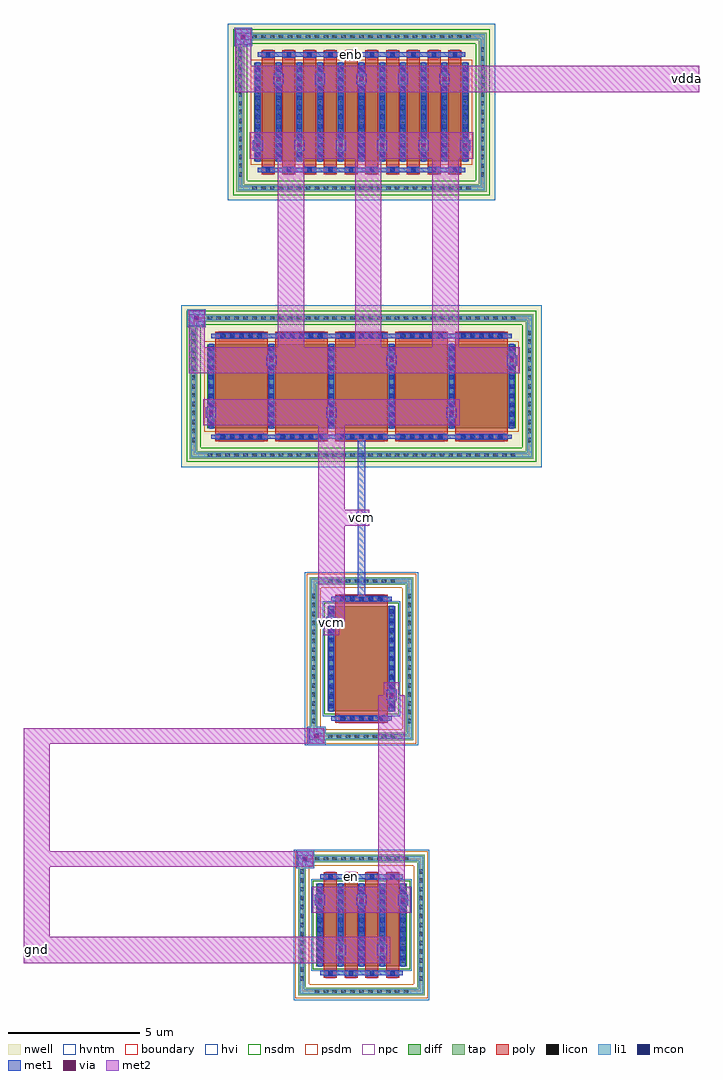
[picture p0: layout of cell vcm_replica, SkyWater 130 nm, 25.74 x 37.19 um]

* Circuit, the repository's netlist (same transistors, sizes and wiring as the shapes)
* vcm replica: inverter core at 1/8 width, output tied to input (self-biased), header on (gate enb, tied to gnd by the top level), footer on (gate en, tied to vdda by the top level) -- dsm1/sim/dsm1.py
.subckt vcm_replica vcm vdda gnd en enb
XMhp rcp enb vdda vdda sky130_fd_pr__pfet_g5v0d10v5 w=37.5 l=0.5
XMp  vcm vcm rcp  rcp  sky130_fd_pr__pfet_g5v0d10v5 w=16 l=2
XMn  vcm vcm rcn  gnd  sky130_fd_pr__nfet_g5v0d10v5 w=4 l=2
XMhn rcn en gnd gnd  sky130_fd_pr__nfet_g5v0d10v5 w=12.5 l=0.5
.ends

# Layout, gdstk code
import gdstk
lib = gdstk.Library(unit=1e-6, precision=1e-09)
def R(c, l, rs):  # rectangles x0, y0, x1, y1
    for r in rs: c.add(gdstk.rectangle(r[:2], r[2:], *l))
def A(c, l, x, y, w, h, nx, ny, dx, dy):  # array of equal rectangles
    R(c, l, [(x+i*dx, y+j*dy, x+i*dx+w, y+j*dy+h) for i in range(nx) for j in range(ny)])
nwell = (64, 20)
diff = (65, 20)
tap = (65, 44)
poly = (66, 20)
licon = (66, 44)
li1 = (67, 20)
mcon = (67, 44)
met1 = (68, 20)
via = (68, 44)
met2 = (69, 20)
hvi = (75, 20)
nsdm = (93, 44)
psdm = (94, 20)
npc = (95, 20)
hvntm = (125, 20)
boundary = (235, 4)

sky130_fd_pr__nfet_g5v0d = lib.new_cell('sky130_fd_pr__nfet_g5v0d10v5_7LT2GF')
R(sky130_fd_pr__nfet_g5v0d, diff, [(-1.725,-1.565,1.725,1.565)])
R(sky130_fd_pr__nfet_g5v0d, tap, [(-2.405,-2.675,2.405,-2.385), (-2.405,-2.385,-2.115,2.385), (2.115,-2.385,2.405,2.385), (-2.405,2.385,2.405,2.675)])
A(sky130_fd_pr__nfet_g5v0d, poly, -1.435, -2.005, 0.5, 4.01, 4, 1, 0.79, 0)
A(sky130_fd_pr__nfet_g5v0d, licon, -1.785, -2.615, 0.17, 0.17, 11, 2, 0.34, 5.06)
A(sky130_fd_pr__nfet_g5v0d, licon, -2.345, -2.125, 0.17, 0.17, 1, 13, 0, 0.34)
A(sky130_fd_pr__nfet_g5v0d, licon, 2.175, -2.125, 0.17, 0.17, 1, 13, 0, 0.34)
A(sky130_fd_pr__nfet_g5v0d, licon, -1.27, -1.925, 0.17, 0.17, 4, 2, 0.79, 3.68)
A(sky130_fd_pr__nfet_g5v0d, licon, -1.665, -1.445, 0.17, 0.17, 5, 9, 0.79, 0.34)
A(sky130_fd_pr__nfet_g5v0d, li1, -1.665, -1.585, 0.17, 3.17, 5, 1, 0.79, 0)
R(sky130_fd_pr__nfet_g5v0d, li1, [(-2.345,-2.615,2.345,-2.445), (-2.345,-2.445,-2.175,2.445), (2.175,-2.445,2.345,2.445), (-1.58,-1.925,1.58,-1.755), (-1.58,1.755,1.58,1.925), (-2.345,2.445,2.345,2.615)])
A(sky130_fd_pr__nfet_g5v0d, mcon, -1.27, -1.925, 0.17, 0.17, 4, 2, 0.79, 3.68)
A(sky130_fd_pr__nfet_g5v0d, mcon, -1.665, -1.345, 0.17, 0.17, 5, 8, 0.79, 0.36)
A(sky130_fd_pr__nfet_g5v0d, met1, -1.415, -1.955, 0.46, 0.03, 4, 2, 0.79, 0.2)
A(sky130_fd_pr__nfet_g5v0d, met1, -1.695, -1.565, 0.23, 3.13, 5, 1, 0.79, 0)
A(sky130_fd_pr__nfet_g5v0d, met1, -1.415, 1.725, 0.46, 0.03, 4, 2, 0.79, 0.2)
R(sky130_fd_pr__nfet_g5v0d, met1, [(-1.58,-1.925,1.58,-1.755), (-1.58,1.755,1.58,1.925)])
R(sky130_fd_pr__nfet_g5v0d, hvi, [(-2.59,-2.86,2.59,2.86)])
R(sky130_fd_pr__nfet_g5v0d, nsdm, [(-1.85,-1.69,1.85,1.69)])
R(sky130_fd_pr__nfet_g5v0d, psdm, [(-2.53,-2.8,2.53,-2.26), (-2.53,-2.26,-1.99,2.26), (1.99,-2.26,2.53,2.26), (-2.53,2.26,2.53,2.8)])
A(sky130_fd_pr__nfet_g5v0d, npc, -1.37, -2.025, 0.37, 0.37, 4, 2, 0.79, 3.68)
R(sky130_fd_pr__nfet_g5v0d, hvntm, [(-1.91,-1.75,1.91,1.75)])
R(sky130_fd_pr__nfet_g5v0d, boundary, [(-2.26,-2.53,2.26,2.53)])
sky130_fd_pr__nfet_g5v0d.add(gdstk.Label('B', (0,-2.53), layer=67, texttype=5))
sky130_fd_pr__nfet_g5v0d.add(gdstk.Label('D0', (-1.58,0), layer=67, texttype=5))
sky130_fd_pr__nfet_g5v0d.add(gdstk.Label('G', (1.185,1.84), layer=67, texttype=5))
sky130_fd_pr__nfet_g5v0d.add(gdstk.Label('G', (0.395,1.84), layer=67, texttype=5))
sky130_fd_pr__nfet_g5v0d.add(gdstk.Label('G', (-0.395,1.84), layer=67, texttype=5))
sky130_fd_pr__nfet_g5v0d.add(gdstk.Label('G', (-1.185,1.84), layer=67, texttype=5))
sky130_fd_pr__nfet_g5v0d.add(gdstk.Label('S1', (-0.79,0), layer=67, texttype=5))
sky130_fd_pr__nfet_g5v0d.add(gdstk.Label('D2', (0,0), layer=67, texttype=5))
sky130_fd_pr__nfet_g5v0d.add(gdstk.Label('S3', (0.79,0), layer=67, texttype=5))

c_sky130_fd_pr__nfet_g5v0d = lib.new_cell('sky130_fd_pr__nfet_g5v0d10v5_ET2AWD')
R(c_sky130_fd_pr__nfet_g5v0d, diff, [(-1.29,-2,1.29,2)])
R(c_sky130_fd_pr__nfet_g5v0d, tap, [(-1.97,-3.11,1.97,-2.82), (-1.97,-2.82,-1.68,2.82), (1.68,-2.82,1.97,2.82), (-1.97,2.82,1.97,3.11)])
R(c_sky130_fd_pr__nfet_g5v0d, poly, [(-1,-2.44,1,2.44)])
A(c_sky130_fd_pr__nfet_g5v0d, licon, -1.275, -3.05, 0.17, 0.17, 8, 2, 0.34, 5.93)
A(c_sky130_fd_pr__nfet_g5v0d, licon, -1.91, -2.465, 0.17, 0.17, 1, 15, 0, 0.34)
A(c_sky130_fd_pr__nfet_g5v0d, licon, 1.74, -2.465, 0.17, 0.17, 1, 15, 0, 0.34)
A(c_sky130_fd_pr__nfet_g5v0d, licon, -0.765, -2.36, 0.17, 0.17, 5, 2, 0.34, 4.55)
A(c_sky130_fd_pr__nfet_g5v0d, licon, -1.23, -1.785, 0.17, 0.17, 1, 11, 0, 0.34)
A(c_sky130_fd_pr__nfet_g5v0d, licon, 1.06, -1.785, 0.17, 0.17, 1, 11, 0, 0.34)
R(c_sky130_fd_pr__nfet_g5v0d, li1, [(-1.91,-3.05,1.91,-2.88), (-1.91,-2.88,-1.74,2.88), (1.74,-2.88,1.91,2.88), (-1.145,-2.36,1.145,-2.19), (-1.23,-2.02,-1.06,2.02), (1.06,-2.02,1.23,2.02), (-1.145,2.19,1.145,2.36), (-1.91,2.88,1.91,3.05)])
A(c_sky130_fd_pr__nfet_g5v0d, mcon, -0.805, -2.36, 0.17, 0.17, 5, 2, 0.36, 4.55)
A(c_sky130_fd_pr__nfet_g5v0d, mcon, -1.23, -1.885, 0.17, 0.17, 1, 11, 0, 0.36)
A(c_sky130_fd_pr__nfet_g5v0d, mcon, 1.06, -1.885, 0.17, 0.17, 1, 11, 0, 0.36)
R(c_sky130_fd_pr__nfet_g5v0d, met1, [(-0.98,-2.39,0.98,-2.36), (-1.145,-2.36,1.145,-2.19), (-0.98,-2.19,0.98,-2.16), (-1.26,-2,-1.03,2), (1.03,-2,1.26,2), (-0.98,2.16,0.98,2.19), (-1.145,2.19,1.145,2.36), (-0.98,2.36,0.98,2.39)])
R(c_sky130_fd_pr__nfet_g5v0d, hvi, [(-2.155,-3.295,2.155,3.295)])
R(c_sky130_fd_pr__nfet_g5v0d, nsdm, [(-1.415,-2.125,1.415,2.125)])
R(c_sky130_fd_pr__nfet_g5v0d, psdm, [(-2.095,-3.235,2.095,-2.695), (-2.095,-2.695,-1.555,2.695), (1.555,-2.695,2.095,2.695), (-2.095,2.695,2.095,3.235)])
R(c_sky130_fd_pr__nfet_g5v0d, npc, [(-0.865,-2.46,0.865,-2.09), (-0.865,2.09,0.865,2.46)])
R(c_sky130_fd_pr__nfet_g5v0d, hvntm, [(-1.475,-2.185,1.475,2.185)])
R(c_sky130_fd_pr__nfet_g5v0d, boundary, [(-1.825,-2.965,1.825,2.965)])
c_sky130_fd_pr__nfet_g5v0d.add(gdstk.Label('B', (0,-2.965), layer=67, texttype=5))
c_sky130_fd_pr__nfet_g5v0d.add(gdstk.Label('D', (-1.145,0), layer=67, texttype=5))
c_sky130_fd_pr__nfet_g5v0d.add(gdstk.Label('S', (1.145,0), layer=67, texttype=5))
c_sky130_fd_pr__nfet_g5v0d.add(gdstk.Label('G', (0,2.275), layer=67, texttype=5))

sky130_fd_pr__pfet_g5v0d = lib.new_cell('sky130_fd_pr__pfet_g5v0d10v5_JZRWPF')
R(sky130_fd_pr__pfet_g5v0d, nwell, [(-6.87,-3.085,6.87,3.085)])
R(sky130_fd_pr__pfet_g5v0d, diff, [(-5.87,-1.6,5.87,1.6)])
R(sky130_fd_pr__pfet_g5v0d, tap, [(-6.54,-2.755,6.54,-2.465), (-6.54,-2.465,-6.25,2.465), (6.25,-2.465,6.54,2.465), (-6.54,2.465,6.54,2.755)])
A(sky130_fd_pr__pfet_g5v0d, poly, -5.58, -2.085, 2, 4.17, 5, 1, 2.29, 0)
A(sky130_fd_pr__pfet_g5v0d, licon, -5.865, -2.695, 0.17, 0.17, 35, 2, 0.34, 5.22)
A(sky130_fd_pr__pfet_g5v0d, licon, -6.48, -2.125, 0.17, 0.17, 1, 13, 0, 0.34)
A(sky130_fd_pr__pfet_g5v0d, licon, 6.31, -2.125, 0.17, 0.17, 1, 13, 0, 0.34)
A(sky130_fd_pr__pfet_g5v0d, licon, -5.345, -2.005, 0.17, 0.17, 5, 2, 0.34, 3.84)
A(sky130_fd_pr__pfet_g5v0d, licon, -3.055, -2.005, 0.17, 0.17, 5, 2, 0.34, 3.84)
A(sky130_fd_pr__pfet_g5v0d, licon, -0.765, -2.005, 0.17, 0.17, 5, 2, 0.34, 3.84)
A(sky130_fd_pr__pfet_g5v0d, licon, 1.525, -2.005, 0.17, 0.17, 5, 2, 0.34, 3.84)
A(sky130_fd_pr__pfet_g5v0d, licon, 3.815, -2.005, 0.17, 0.17, 5, 2, 0.34, 3.84)
A(sky130_fd_pr__pfet_g5v0d, licon, -5.81, -1.445, 0.17, 0.17, 6, 9, 2.29, 0.34)
A(sky130_fd_pr__pfet_g5v0d, li1, -5.81, -1.62, 0.17, 3.24, 6, 1, 2.29, 0)
R(sky130_fd_pr__pfet_g5v0d, li1, [(-6.48,-2.695,6.48,-2.525), (-6.48,-2.525,-6.31,2.525), (6.31,-2.525,6.48,2.525), (-5.725,-2.005,5.725,-1.835), (-5.725,1.835,5.725,2.005), (-6.48,2.525,6.48,2.695)])
A(sky130_fd_pr__pfet_g5v0d, mcon, -5.385, -2.005, 0.17, 0.17, 5, 2, 0.36, 3.84)
A(sky130_fd_pr__pfet_g5v0d, mcon, -3.095, -2.005, 0.17, 0.17, 5, 2, 0.36, 3.84)
A(sky130_fd_pr__pfet_g5v0d, mcon, -0.805, -2.005, 0.17, 0.17, 5, 2, 0.36, 3.84)
A(sky130_fd_pr__pfet_g5v0d, mcon, 1.485, -2.005, 0.17, 0.17, 5, 2, 0.36, 3.84)
A(sky130_fd_pr__pfet_g5v0d, mcon, 3.775, -2.005, 0.17, 0.17, 5, 2, 0.36, 3.84)
A(sky130_fd_pr__pfet_g5v0d, mcon, -5.81, -1.525, 0.17, 0.17, 6, 9, 2.29, 0.36)
A(sky130_fd_pr__pfet_g5v0d, met1, -5.56, -2.035, 1.96, 0.03, 5, 2, 2.29, 0.2)
A(sky130_fd_pr__pfet_g5v0d, met1, -5.84, -1.6, 0.23, 3.2, 6, 1, 2.29, 0)
A(sky130_fd_pr__pfet_g5v0d, met1, -5.56, 1.805, 1.96, 0.03, 5, 2, 2.29, 0.2)
R(sky130_fd_pr__pfet_g5v0d, met1, [(-5.725,-2.005,5.725,-1.835), (-5.725,1.835,5.725,2.005)])
R(sky130_fd_pr__pfet_g5v0d, hvi, [(-6.87,-3.085,6.87,3.085)])
R(sky130_fd_pr__pfet_g5v0d, nsdm, [(-6.665,-2.88,6.665,-2.34), (-6.665,-2.34,-6.125,2.34), (6.125,-2.34,6.665,2.34), (-6.665,2.34,6.665,2.88)])
R(sky130_fd_pr__pfet_g5v0d, psdm, [(-5.995,-1.725,5.995,1.725)])
A(sky130_fd_pr__pfet_g5v0d, npc, -5.445, -2.105, 1.73, 0.37, 5, 2, 2.29, 3.84)
R(sky130_fd_pr__pfet_g5v0d, boundary, [(-6.395,-2.61,6.395,2.61)])
sky130_fd_pr__pfet_g5v0d.add(gdstk.Label('B', (0,-2.61), layer=67, texttype=5))
sky130_fd_pr__pfet_g5v0d.add(gdstk.Label('D0', (-5.725,0), layer=67, texttype=5))
sky130_fd_pr__pfet_g5v0d.add(gdstk.Label('G', (4.58,1.92), layer=67, texttype=5))
sky130_fd_pr__pfet_g5v0d.add(gdstk.Label('G', (2.29,1.92), layer=67, texttype=5))
sky130_fd_pr__pfet_g5v0d.add(gdstk.Label('G', (0,1.92), layer=67, texttype=5))
sky130_fd_pr__pfet_g5v0d.add(gdstk.Label('G', (-2.29,1.92), layer=67, texttype=5))
sky130_fd_pr__pfet_g5v0d.add(gdstk.Label('G', (-4.58,1.92), layer=67, texttype=5))
sky130_fd_pr__pfet_g5v0d.add(gdstk.Label('S1', (-3.435,0), layer=67, texttype=5))
sky130_fd_pr__pfet_g5v0d.add(gdstk.Label('D2', (-1.145,0), layer=67, texttype=5))
sky130_fd_pr__pfet_g5v0d.add(gdstk.Label('S3', (1.145,0), layer=67, texttype=5))
sky130_fd_pr__pfet_g5v0d.add(gdstk.Label('D4', (3.435,0), layer=67, texttype=5))
sky130_fd_pr__pfet_g5v0d.add(gdstk.Label('S4', (5.725,0), layer=67, texttype=5))

c_sky130_fd_pr__pfet_g5v0d = lib.new_cell('sky130_fd_pr__pfet_g5v0d10v5_MXRB4E')
R(c_sky130_fd_pr__pfet_g5v0d, nwell, [(-5.095,-3.36,5.095,3.36)])
R(c_sky130_fd_pr__pfet_g5v0d, diff, [(-4.095,-1.875,4.095,1.875)])
R(c_sky130_fd_pr__pfet_g5v0d, tap, [(-4.765,-3.03,4.765,-2.74), (-4.765,-2.74,-4.475,2.74), (4.475,-2.74,4.765,2.74), (-4.765,2.74,4.765,3.03)])
A(c_sky130_fd_pr__pfet_g5v0d, poly, -3.805, -2.36, 0.5, 4.72, 10, 1, 0.79, 0)
A(c_sky130_fd_pr__pfet_g5v0d, licon, -4.165, -2.97, 0.17, 0.17, 25, 2, 0.34, 5.77)
A(c_sky130_fd_pr__pfet_g5v0d, licon, -4.705, -2.465, 0.17, 0.17, 1, 15, 0, 0.34)
A(c_sky130_fd_pr__pfet_g5v0d, licon, 4.535, -2.465, 0.17, 0.17, 1, 15, 0, 0.34)
A(c_sky130_fd_pr__pfet_g5v0d, licon, -3.64, -2.28, 0.17, 0.17, 10, 2, 0.79, 4.39)
A(c_sky130_fd_pr__pfet_g5v0d, licon, -4.035, -1.785, 0.17, 0.17, 11, 11, 0.79, 0.34)
A(c_sky130_fd_pr__pfet_g5v0d, li1, -4.035, -1.895, 0.17, 3.79, 11, 1, 0.79, 0)
R(c_sky130_fd_pr__pfet_g5v0d, li1, [(-4.705,-2.97,4.705,-2.8), (-4.705,-2.8,-4.535,2.8), (4.535,-2.8,4.705,2.8), (-3.95,-2.28,3.95,-2.11), (-3.95,2.11,3.95,2.28), (-4.705,2.8,4.705,2.97)])
A(c_sky130_fd_pr__pfet_g5v0d, mcon, -3.64, -2.28, 0.17, 0.17, 10, 2, 0.79, 4.39)
A(c_sky130_fd_pr__pfet_g5v0d, mcon, -4.035, -1.705, 0.17, 0.17, 11, 10, 0.79, 0.36)
A(c_sky130_fd_pr__pfet_g5v0d, met1, -3.785, -2.31, 0.46, 0.03, 10, 2, 0.79, 0.2)
A(c_sky130_fd_pr__pfet_g5v0d, met1, -4.065, -1.875, 0.23, 3.75, 11, 1, 0.79, 0)
A(c_sky130_fd_pr__pfet_g5v0d, met1, -3.785, 2.08, 0.46, 0.03, 10, 2, 0.79, 0.2)
R(c_sky130_fd_pr__pfet_g5v0d, met1, [(-3.95,-2.28,3.95,-2.11), (-3.95,2.11,3.95,2.28)])
R(c_sky130_fd_pr__pfet_g5v0d, hvi, [(-5.095,-3.36,5.095,3.36)])
R(c_sky130_fd_pr__pfet_g5v0d, nsdm, [(-4.89,-3.155,4.89,-2.615), (-4.89,-2.615,-4.35,2.615), (4.35,-2.615,4.89,2.615), (-4.89,2.615,4.89,3.155)])
R(c_sky130_fd_pr__pfet_g5v0d, psdm, [(-4.22,-2,4.22,2)])
A(c_sky130_fd_pr__pfet_g5v0d, npc, -3.74, -2.38, 0.37, 0.37, 10, 2, 0.79, 4.39)
R(c_sky130_fd_pr__pfet_g5v0d, boundary, [(-4.62,-2.885,4.62,2.885)])
c_sky130_fd_pr__pfet_g5v0d.add(gdstk.Label('B', (0,-2.885), layer=67, texttype=5))
c_sky130_fd_pr__pfet_g5v0d.add(gdstk.Label('D0', (-3.95,0), layer=67, texttype=5))
c_sky130_fd_pr__pfet_g5v0d.add(gdstk.Label('G', (3.555,2.195), layer=67, texttype=5))
c_sky130_fd_pr__pfet_g5v0d.add(gdstk.Label('G', (2.765,2.195), layer=67, texttype=5))
c_sky130_fd_pr__pfet_g5v0d.add(gdstk.Label('G', (1.975,2.195), layer=67, texttype=5))
c_sky130_fd_pr__pfet_g5v0d.add(gdstk.Label('G', (1.185,2.195), layer=67, texttype=5))
c_sky130_fd_pr__pfet_g5v0d.add(gdstk.Label('G', (0.395,2.195), layer=67, texttype=5))
c_sky130_fd_pr__pfet_g5v0d.add(gdstk.Label('G', (-0.395,2.195), layer=67, texttype=5))
c_sky130_fd_pr__pfet_g5v0d.add(gdstk.Label('G', (-1.185,2.195), layer=67, texttype=5))
c_sky130_fd_pr__pfet_g5v0d.add(gdstk.Label('G', (-1.975,2.195), layer=67, texttype=5))
c_sky130_fd_pr__pfet_g5v0d.add(gdstk.Label('G', (-2.765,2.195), layer=67, texttype=5))
c_sky130_fd_pr__pfet_g5v0d.add(gdstk.Label('G', (-3.555,2.195), layer=67, texttype=5))
c_sky130_fd_pr__pfet_g5v0d.add(gdstk.Label('S1', (-3.16,0), layer=67, texttype=5))
c_sky130_fd_pr__pfet_g5v0d.add(gdstk.Label('D2', (-2.37,0), layer=67, texttype=5))
c_sky130_fd_pr__pfet_g5v0d.add(gdstk.Label('S3', (-1.58,0), layer=67, texttype=5))
c_sky130_fd_pr__pfet_g5v0d.add(gdstk.Label('D4', (-0.79,0), layer=67, texttype=5))
c_sky130_fd_pr__pfet_g5v0d.add(gdstk.Label('S5', (0,0), layer=67, texttype=5))
c_sky130_fd_pr__pfet_g5v0d.add(gdstk.Label('D6', (0.79,0), layer=67, texttype=5))
c_sky130_fd_pr__pfet_g5v0d.add(gdstk.Label('S7', (1.58,0), layer=67, texttype=5))
c_sky130_fd_pr__pfet_g5v0d.add(gdstk.Label('D8', (2.37,0), layer=67, texttype=5))
c_sky130_fd_pr__pfet_g5v0d.add(gdstk.Label('S9', (3.16,0), layer=67, texttype=5))

vcm_replica = lib.new_cell('vcm_replica')
R(vcm_replica, li1, [(-2.495,5.02,-1.795,5.72), (-2.06,9.7,-1.36,10.4), (-6.63,25.62,-5.93,26.32), (-4.855,36.34,-4.155,37.04)])
R(vcm_replica, mcon, [(-2.23,5.285,-2.06,5.455), (-1.795,9.965,-1.625,10.135), (-6.365,25.885,-6.195,26.055), (-4.59,36.605,-4.42,36.775)])
A(vcm_replica, met1, -1.78, 3.61, 0.4, 0.4, 3, 1, 1.58, 0)
A(vcm_replica, met1, -5.925, 22.185, 0.4, 0.4, 3, 1, 4.58, 0)
A(vcm_replica, met1, -3.635, 24.165, 0.4, 0.4, 3, 1, 4.58, 0)
A(vcm_replica, met1, -4.15, 32.355, 0.4, 0.4, 6, 1, 1.58, 0)
A(vcm_replica, met1, -3.36, 34.885, 0.4, 0.4, 5, 1, 1.58, 0)
R(vcm_replica, met1, [(-0.99,1.7,-0.59,2.1), (0.59,1.7,0.99,2.1), (-0.565,4.61,-0.225,4.78), (-2.445,5.07,-1.845,5.67), (-2.01,9.75,-1.41,10.35), (0.945,11.41,1.345,11.81), (-1.345,14.19,-0.945,14.59), (-0.15,15.275,0.15,18.165), (-0.2,18.165,0.2,18.565), (-0.15,18.565,0.15,21.455), (-6.58,25.67,-5.98,26.27), (-0.565,35.93,-0.225,36.1), (-4.805,36.39,-4.205,36.99)])
A(vcm_replica, via, -1.655, 3.735, 0.15, 0.15, 3, 1, 1.58, 0)
A(vcm_replica, via, -5.8, 22.31, 0.15, 0.15, 3, 1, 4.58, 0)
A(vcm_replica, via, -3.51, 24.29, 0.15, 0.15, 3, 1, 4.58, 0)
A(vcm_replica, via, -4.025, 32.48, 0.15, 0.15, 6, 1, 1.58, 0)
A(vcm_replica, via, -3.235, 35.01, 0.15, 0.15, 5, 1, 1.58, 0)
R(vcm_replica, via, [(-0.865,1.825,-0.715,1.975), (0.715,1.825,0.865,1.975), (-2.22,5.295,-2.07,5.445), (-1.785,9.975,-1.635,10.125), (1.07,11.535,1.22,11.685), (-1.22,14.315,-1.07,14.465), (-0.075,18.29,0.075,18.44), (-6.355,25.895,-6.205,26.045), (-4.58,36.615,-4.43,36.765)])
R(vcm_replica, met2, [(-12.87,1.4,1.09,2.4), (-12.87,2.4,-11.87,5.07), (-1.88,3.31,1.88,4.31), (0.645,4.31,1.645,11.61), (-12.87,5.07,-1.845,5.67), (-12.87,5.67,-11.87,9.75), (-12.87,9.75,-1.41,10.35), (0.845,11.61,1.445,12.11), (-1.445,13.89,-0.845,14.39), (-1.645,14.39,-0.645,18.065), (-1.645,18.065,0.3,18.665), (-1.645,18.665,-0.645,21.885), (-6.025,21.885,3.735,22.885), (-6.58,23.865,6.025,24.865), (-6.58,24.865,-5.98,26.27), (-3.185,24.865,-2.185,32.055), (-0.245,24.865,0.755,32.055), (2.7,24.865,3.7,32.055), (-4.25,32.055,4.25,33.055), (-4.805,34.585,12.87,35.585), (-4.805,35.585,-4.205,36.99)])
vcm_replica.add(gdstk.Reference(sky130_fd_pr__nfet_g5v0d, (0,2.855)))
vcm_replica.add(gdstk.Reference(c_sky130_fd_pr__nfet_g5v0d, (0,13)))
vcm_replica.add(gdstk.Reference(sky130_fd_pr__pfet_g5v0d, (0,23.375)))
vcm_replica.add(gdstk.Reference(c_sky130_fd_pr__pfet_g5v0d, (0,33.82)))
vcm_replica.add(gdstk.Label('vcm', (0,18.365), layer=68, texttype=5))
vcm_replica.add(gdstk.Label('en', (-0.395,4.695), layer=68, texttype=5))
vcm_replica.add(gdstk.Label('enb', (-0.395,36.015), layer=68, texttype=5))
vcm_replica.add(gdstk.Label('vdda', (12.37,35.085), layer=69, texttype=5))
vcm_replica.add(gdstk.Label('gnd', (-12.37,1.9), layer=69, texttype=5))
vcm_replica.add(gdstk.Label('vcm', (-1.145,14.39), layer=69, texttype=5))

lib.write_gds('vcm_replica.gds')
